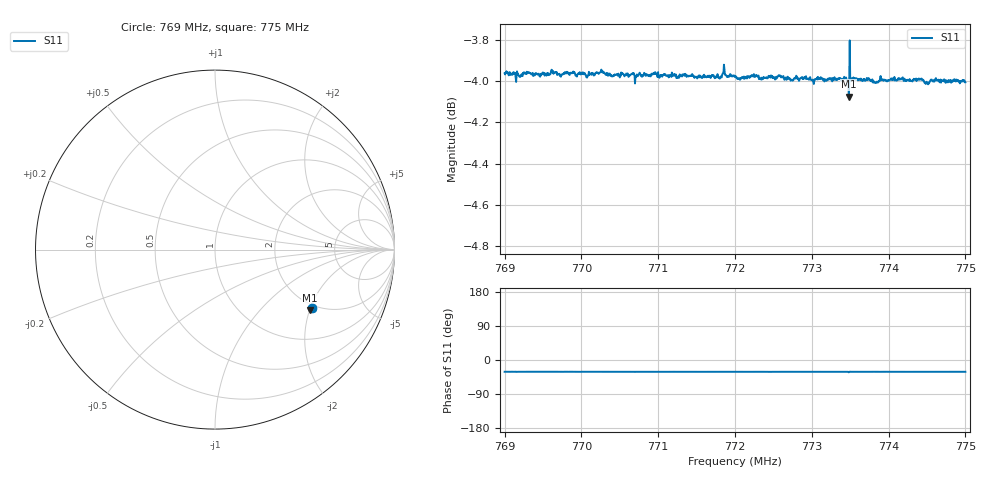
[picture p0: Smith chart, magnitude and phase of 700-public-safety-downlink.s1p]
! Calibrated averaged scanner-service zoom
# Hz S RI R 50
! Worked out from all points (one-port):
!   1001 points, 769 MHz to 775 MHz, reference 50 ohm
!   lowest |S11| = -4.1 dB at 773.482 MHz (marker M1), VSWR 4.34, Z = 90.4 - j100 ohm
!   |S11| at or under -10 dB: nowhere
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7.69e8  0.543 -0.3268
7.6918e8  0.542 -0.3272
7.693e8  0.5433 -0.3266
7.6945e8  0.5429 -0.3261
7.6975e8  0.5421 -0.3277
7.69882e8  0.5434 -0.3267
7.6996e8  0.5429 -0.327
7.70062e8  0.542 -0.3263
7.70254e8  0.5428 -0.3284
7.705e8  0.5411 -0.3272
7.7125e8  0.5409 -0.3272
7.71778e8  0.5413 -0.3277
7.71862e8  0.544 -0.3282
7.72e8  0.5411 -0.3275
7.726e8  0.5409 -0.3275
7.7275e8  0.5402 -0.3264
7.73422e8  0.5413 -0.3274
7.73458e8  0.5401 -0.3266
7.73464e8  0.5403 -0.3262
7.73482e8  0.5274 -0.3366
7.735e8  0.5404 -0.327
7.73524e8  0.5409 -0.3266
7.73542e8  0.541 -0.3274
7.73824e8  0.5399 -0.3255
7.73926e8  0.5401 -0.3272
7.7425e8  0.5405 -0.3266
7.7449e8  0.54 -0.3256
7.75e8  0.5396 -0.3263
